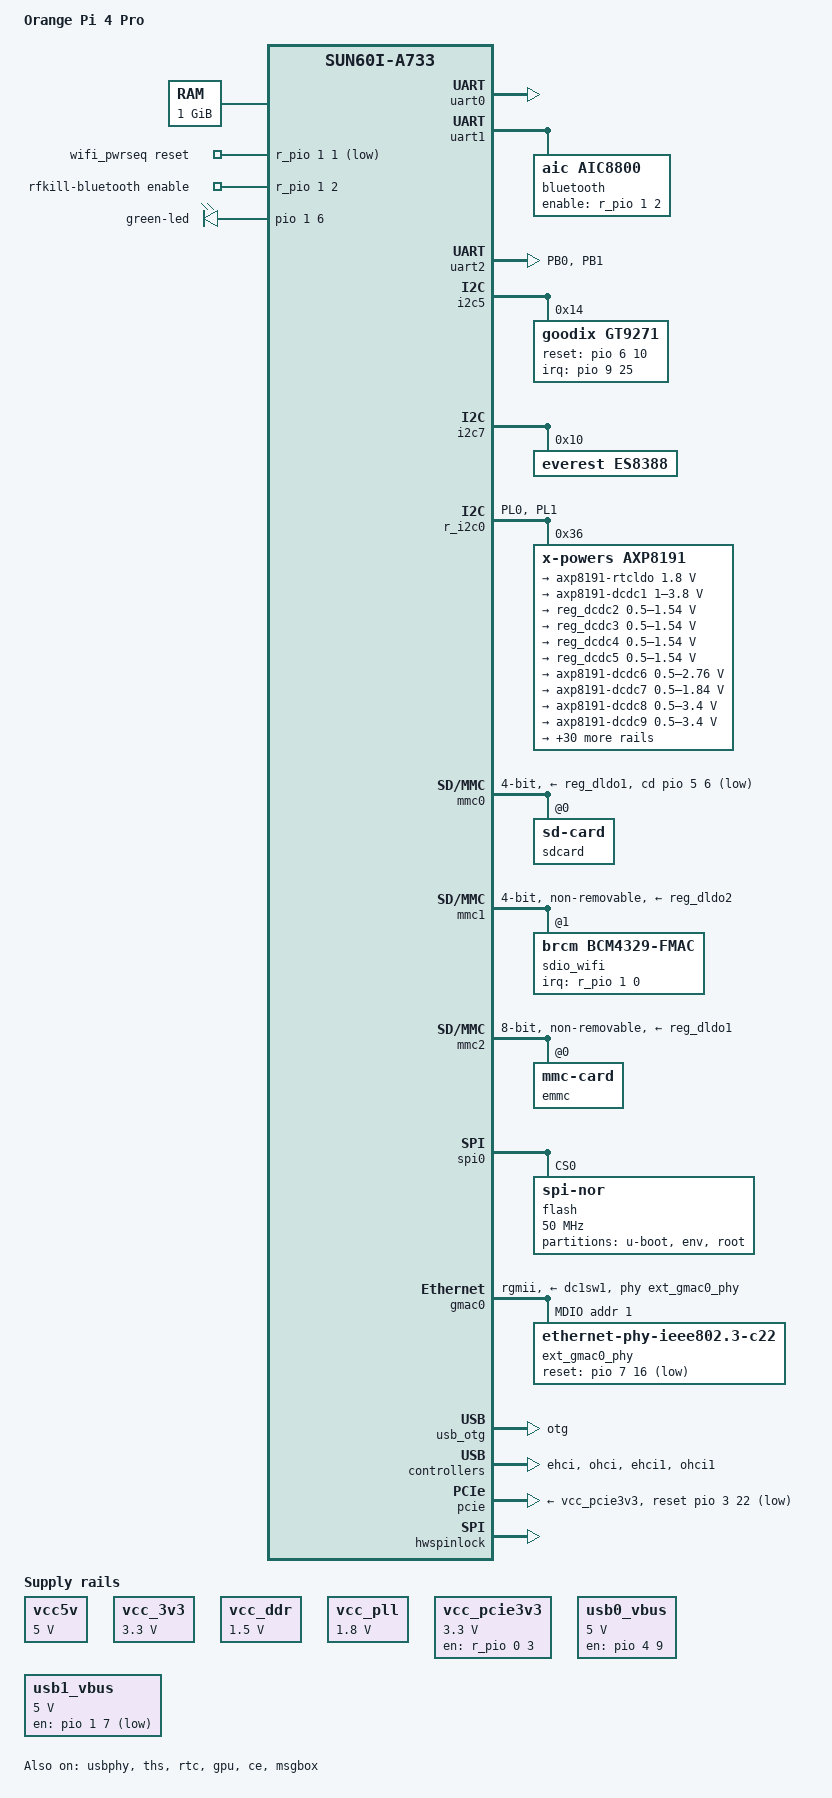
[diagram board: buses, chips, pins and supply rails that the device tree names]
// SPDX-License-Identifier: (GPL-2.0-or-later OR MIT)
/*
 * Device Tree Source for Orange Pi 4 Pro
 *
 * Based on Allwinner A733 SoC
 */

/dts-v1/;

#include "sun60i-a733.dtsi"

/ {
	model = "Orange Pi 4 Pro";
	compatible = "xunlong,orangepi-4-pro", "allwinner,sun60i-a733", "arm,v8";

	aliases {
		serial0 = &uart0;
		serial1 = &uart1;
		serial2 = &uart2;
	};

	chosen {
		stdout-path = "serial2:115200n8";
	};

	memory@40000000 {
		device_type = "memory";
		reg = <0x40000000 0x40000000>;
	};

	reserved-memory {
		#address-cells = <1>;
		#size-cells = <1>;
		ranges;

		bl31@48000000 {
			reg = <0x48000000 0x01000000>;
			no-map;
		};
	};

	vcc5v: vcc5v {
		compatible = "regulator-fixed";
		regulator-name = "vcc-5v";
		regulator-min-microvolt = <5000000>;
		regulator-max-microvolt = <5000000>;
		regulator-always-on;
		regulator-boot-on;
	};

	vcc_3v3: vcc-3v3 {
		compatible = "regulator-fixed";
		regulator-name = "vcc-3v3";
		regulator-min-microvolt = <3300000>;
		regulator-max-microvolt = <3300000>;
		regulator-always-on;
		regulator-boot-on;
	};

	vcc_ddr: vcc-ddr {
		compatible = "regulator-fixed";
		regulator-name = "vcc-ddr";
		regulator-min-microvolt = <1500000>;
		regulator-max-microvolt = <1500000>;
		regulator-always-on;
		regulator-boot-on;
	};

	vcc_pll: vcc-pll {
		compatible = "regulator-fixed";
		regulator-name = "vcc-pll";
		regulator-min-microvolt = <1800000>;
		regulator-max-microvolt = <1800000>;
		regulator-always-on;
		regulator-boot-on;
	};

	vcc_pcie3v3: vcc-pcie3v3 {
		compatible = "regulator-fixed";
		regulator-name = "vcc-pcie3v3";
		regulator-min-microvolt = <3300000>;
		regulator-max-microvolt = <3300000>;
		enable-active-high;
		gpio = <&r_pio 0 3 GPIO_ACTIVE_HIGH>; /* PL3: PCIE_PWREN_H */
		regulator-boot-on;
	};

	usb0_vbus: usb0-vbus {
		compatible = "regulator-fixed";
		regulator-name = "usb0-vbus";
		regulator-min-microvolt = <5000000>;
		regulator-max-microvolt = <5000000>;
		enable-active-high;
		gpio = <&pio 4 9 GPIO_ACTIVE_HIGH>; /* PE9: USB20_EN */
		regulator-boot-on;
	};

	usb1_vbus: usb1-vbus {
		compatible = "regulator-fixed";
		regulator-name = "usb1-vbus";
		regulator-min-microvolt = <5000000>;
		regulator-max-microvolt = <5000000>;
		enable-active-low;
		gpio = <&pio 1 7 GPIO_ACTIVE_LOW>; /* PB7: PWREN1# */
		regulator-always-on;
		regulator-boot-on;
	};

	wifi_pwrseq: wifi-pwrseq {
		compatible = "mmc-pwrseq-simple";
		clocks = <&osc24M>;
		clock-frequency = <26000000>;
		reset-gpios = <&r_pio 1 1 GPIO_ACTIVE_LOW>; /* PM1: WL_REG_ON */
		post-power-on-delay-ms = <200>;
	};

	rfkill_bt: rfkill-bt {
		compatible = "rfkill-gpio";
		label = "rfkill-bluetooth";
		radio-type = "bluetooth";
		enable-gpios = <&r_pio 1 2 GPIO_ACTIVE_HIGH>; /* PM2: BT_REG_ON */
	};

	leds {
		compatible = "gpio-leds";

		led-green {
			label = "green-led";
			gpios = <&pio 1 6 GPIO_ACTIVE_HIGH>; /* PB6: PWM_LED1 */
			default-state = "on";
		};
	};
};

&r_pio {
	/* R_PIO pins (PL bank only) */
	r_i2c0_pins: r-i2c0-pins {
		pins = "PL0", "PL1";
		function = "r_i2c0";
		drive-strength = <40>;
	};
};

&uart0 {
	pinctrl-names = "default";
	pinctrl-0 = <&uart0_ph8_pins>;
	status = "okay";
};

&uart1 {
	pinctrl-names = "default";
	pinctrl-0 = <&uart1_pg6_pins>, <&uart1_rts_cts_pins>;
	uart-has-rtscts;
	status = "okay";

	bluetooth {
		compatible = "aic,aic8800";
		enable-gpios = <&r_pio 1 2 GPIO_ACTIVE_HIGH>; /* PM2: BT_REG_ON */
	};
};

&uart2 {
	pinctrl-names = "default";
	pinctrl-0 = <&uart2_pins>;
	status = "okay";
};

&i2c5 {
	pinctrl-names = "default";
	pinctrl-0 = <&i2c5_pins>;
	status = "okay";

	gt9271: touchscreen@14 {
		compatible = "goodix,gt9271";
		reg = <0x14>;
		interrupt-parent = <&pio>;
		interrupts = <9 25 IRQ_TYPE_LEVEL_HIGH>; /* PJ25 */
		reset-gpios = <&pio 6 10 GPIO_ACTIVE_HIGH>; /* PG10 */
		touchscreen-inverted-x;
		touchscreen-swapped-x-y;
		touchscreen-size-x = <1280>;
		touchscreen-size-y = <800>;
		pinctrl-names = "default";
		pinctrl-0 = <&gt9271_irq_pin>;
	};
};

&i2c7 {
	pinctrl-names = "default";
	pinctrl-0 = <&i2c7_pins>;
	status = "okay";

	es8388: audio-codec@10 {
		compatible = "everest,es8388";
		reg = <0x10>;
		assigned-clocks = <&ccu CLK_AUDIO>;
		assigned-clock-rates = <24576000>;
		clocks = <&ccu CLK_AUDIO>;
		clock-names = "mclk";
	};
};

&r_i2c0 {
	pinctrl-names = "default";
	pinctrl-0 = <&r_i2c0_pins>;
	status = "okay";

	axp8191: pmic@36 {
		compatible = "x-powers,axp8191";
		reg = <0x36>;
		interrupt-parent = <&nmi_intc>;
		interrupts = <0 IRQ_TYPE_LEVEL_LOW>;
		interrupt-controller;
		#interrupt-cells = <1>;

		pmu-reset;
		pmu_irq_wakeup;
		pmu_hot_shutdown;
		wakeup-source;
		x-powers,drive-vbus-en;

		regulators {
			rtcldo {
				regulator-always-on;
				regulator-boot-on;
				regulator-name = "axp8191-rtcldo";
				regulator-min-microvolt = <1800000>;
				regulator-max-microvolt = <1800000>;
				regulator-enable-ramp-delay = <1000>;
			};

			dcdc1 {
				regulator-always-on;
				regulator-boot-on;
				regulator-name = "axp8191-dcdc1";
				regulator-min-microvolt = <1000000>;
				regulator-max-microvolt = <3800000>;
				regulator-enable-ramp-delay = <1000>;
			};

			reg_dcdc2: dcdc2 {
				regulator-always-on;
				regulator-boot-on;
				regulator-name = "axp8191-dcdc2";
				regulator-min-microvolt = <500000>;
				regulator-max-microvolt = <1540000>;
				regulator-enable-ramp-delay = <1000>;
			};

			reg_dcdc3: dcdc3 {
				regulator-always-on;
				regulator-boot-on;
				regulator-name = "axp8191-dcdc3";
				regulator-min-microvolt = <500000>;
				regulator-max-microvolt = <1540000>;
				regulator-enable-ramp-delay = <1000>;
			};

			reg_dcdc4: dcdc4 {
				regulator-always-on;
				regulator-boot-on;
				regulator-name = "axp8191-dcdc4";
				regulator-min-microvolt = <500000>;
				regulator-max-microvolt = <1540000>;
				regulator-enable-ramp-delay = <1000>;
			};

			reg_dcdc5: dcdc5 {
				regulator-always-on;
				regulator-boot-on;
				regulator-name = "axp8191-dcdc5";
				regulator-min-microvolt = <500000>;
				regulator-max-microvolt = <1540000>;
				regulator-enable-ramp-delay = <1000>;
			};

			dcdc6 {
				regulator-always-on;
				regulator-boot-on;
				regulator-name = "axp8191-dcdc6";
				regulator-min-microvolt = <500000>;
				regulator-max-microvolt = <2760000>;
				regulator-enable-ramp-delay = <1000>;
			};

			dcdc7 {
				regulator-always-on;
				regulator-boot-on;
				regulator-name = "axp8191-dcdc7";
				regulator-min-microvolt = <500000>;
				regulator-max-microvolt = <1840000>;
				regulator-enable-ramp-delay = <1000>;
			};

			dcdc8 {
				regulator-always-on;
				regulator-boot-on;
				regulator-name = "axp8191-dcdc8";
				regulator-min-microvolt = <500000>;
				regulator-max-microvolt = <3400000>;
				regulator-enable-ramp-delay = <1000>;
			};

			dcdc9 {
				regulator-always-on;
				regulator-boot-on;
				regulator-name = "axp8191-dcdc9";
				regulator-min-microvolt = <500000>;
				regulator-max-microvolt = <3400000>;
				regulator-enable-ramp-delay = <1000>;
			};

			aldo1 {
				regulator-always-on;
				regulator-boot-on;
				regulator-name = "axp8191-aldo1";
				regulator-min-microvolt = <500000>;
				regulator-max-microvolt = <3400000>;
				regulator-enable-ramp-delay = <1000>;
			};

			aldo2 {
				regulator-name = "axp8191-aldo2";
				regulator-min-microvolt = <500000>;
				regulator-max-microvolt = <3400000>;
				regulator-enable-ramp-delay = <1000>;
			};

			aldo3 {
				regulator-name = "axp8191-aldo3";
				regulator-min-microvolt = <500000>;
				regulator-max-microvolt = <3400000>;
				regulator-enable-ramp-delay = <1000>;
			};

			aldo4 {
				regulator-name = "axp8191-aldo4";
				regulator-min-microvolt = <500000>;
				regulator-max-microvolt = <3400000>;
				regulator-enable-ramp-delay = <1000>;
			};

			aldo5 {
				regulator-name = "axp8191-aldo5";
				regulator-min-microvolt = <500000>;
				regulator-max-microvolt = <3400000>;
				regulator-enable-ramp-delay = <1000>;
			};

			aldo6 {
				regulator-name = "axp8191-aldo6";
				regulator-min-microvolt = <500000>;
				regulator-max-microvolt = <3400000>;
				regulator-enable-ramp-delay = <1000>;
			};

			bldo1 {
				regulator-name = "axp8191-bldo1";
				regulator-min-microvolt = <500000>;
				regulator-max-microvolt = <3400000>;
				regulator-enable-ramp-delay = <1000>;
			};

			bldo2 {
				regulator-name = "axp8191-bldo2";
				regulator-min-microvolt = <500000>;
				regulator-max-microvolt = <3400000>;
				regulator-enable-ramp-delay = <1000>;
			};

			bldo3 {
				regulator-name = "axp8191-bldo3";
				regulator-min-microvolt = <500000>;
				regulator-max-microvolt = <3400000>;
				regulator-enable-ramp-delay = <1000>;
			};

			bldo4 {
				regulator-always-on;
				regulator-boot-on;
				regulator-name = "axp8191-bldo4";
				regulator-min-microvolt = <500000>;
				regulator-max-microvolt = <3400000>;
				regulator-enable-ramp-delay = <1000>;
			};

			bldo5 {
				regulator-name = "axp8191-bldo5";
				regulator-min-microvolt = <500000>;
				regulator-max-microvolt = <3400000>;
				regulator-enable-ramp-delay = <1000>;
			};

			cldo1 {
				regulator-always-on;
				regulator-boot-on;
				regulator-name = "axp8191-cldo1";
				regulator-min-microvolt = <500000>;
				regulator-max-microvolt = <3500000>;
				regulator-enable-ramp-delay = <1000>;
			};

			cldo2 {
				regulator-always-on;
				regulator-boot-on;
				regulator-name = "axp8191-cldo2";
				regulator-min-microvolt = <500000>;
				regulator-max-microvolt = <3500000>;
				regulator-enable-ramp-delay = <1000>;
			};

			cldo3 {
				regulator-always-on;
				regulator-boot-on;
				regulator-name = "axp8191-cldo3";
				regulator-min-microvolt = <500000>;
				regulator-max-microvolt = <3500000>;
				regulator-enable-ramp-delay = <1000>;
			};

			cldo4 {
				regulator-name = "axp8191-cldo4";
				regulator-min-microvolt = <500000>;
				regulator-max-microvolt = <3500000>;
				regulator-enable-ramp-delay = <1000>;
			};

			cldo5 {
				regulator-always-on;
				regulator-boot-on;
				regulator-name = "axp8191-cldo5";
				regulator-min-microvolt = <500000>;
				regulator-max-microvolt = <3400000>;
				regulator-enable-ramp-delay = <1000>;
			};

			reg_dldo1: dldo1 {
				regulator-always-on;
				regulator-boot-on;
				regulator-name = "axp8191-dldo1";
				regulator-min-microvolt = <500000>;
				regulator-max-microvolt = <3400000>;
				regulator-enable-ramp-delay = <1000>;
			};

			reg_dldo2: dldo2 {
				regulator-name = "axp8191-dldo2";
				regulator-min-microvolt = <500000>;
				regulator-max-microvolt = <3400000>;
				regulator-enable-ramp-delay = <1000>;
			};

			dldo3 {
				regulator-name = "axp8191-dldo3";
				regulator-min-microvolt = <500000>;
				regulator-max-microvolt = <3400000>;
				regulator-enable-ramp-delay = <1000>;
			};

			dldo4 {
				regulator-name = "axp8191-dldo4";
				regulator-min-microvolt = <500000>;
				regulator-max-microvolt = <3400000>;
				regulator-enable-ramp-delay = <1000>;
			};

			dldo5 {
				regulator-name = "axp8191-dldo5";
				regulator-min-microvolt = <500000>;
				regulator-max-microvolt = <3400000>;
				regulator-enable-ramp-delay = <1000>;
			};

			dldo6 {
				regulator-always-on;
				regulator-boot-on;
				regulator-name = "axp8191-dldo6";
				regulator-min-microvolt = <500000>;
				regulator-max-microvolt = <3400000>;
				regulator-enable-ramp-delay = <1000>;
			};

			eldo1 {
				regulator-always-on;
				regulator-boot-on;
				regulator-name = "axp8191-eldo1";
				regulator-min-microvolt = <500000>;
				regulator-max-microvolt = <3400000>;
				regulator-enable-ramp-delay = <1000>;
			};

			eldo2 {
				regulator-always-on;
				regulator-boot-on;
				regulator-name = "axp8191-eldo2";
				regulator-min-microvolt = <500000>;
				regulator-max-microvolt = <3400000>;
				regulator-enable-ramp-delay = <1000>;
			};

			eldo3 {
				regulator-name = "axp8191-eldo3";
				regulator-min-microvolt = <500000>;
				regulator-max-microvolt = <3400000>;
				regulator-enable-ramp-delay = <1000>;
			};

			eldo4 {
				regulator-name = "axp8191-eldo4";
				regulator-min-microvolt = <500000>;
				regulator-max-microvolt = <3400000>;
				regulator-enable-ramp-delay = <1000>;
			};

			eldo5 {
				regulator-name = "axp8191-eldo5";
				regulator-min-microvolt = <500000>;
				regulator-max-microvolt = <3400000>;
				regulator-enable-ramp-delay = <1000>;
			};

			eldo6 {
				regulator-always-on;
				regulator-boot-on;
				regulator-name = "axp8191-eldo6";
				regulator-min-microvolt = <500000>;
				regulator-max-microvolt = <3400000>;
				regulator-enable-ramp-delay = <1000>;
			};

			dc1sw1: dc1sw1 {
				regulator-always-on;
				regulator-boot-on;
				regulator-name = "axp8191-dc1sw1";
			};

			dc1sw2 {
				regulator-always-on;
				regulator-name = "axp8191-dc1sw2";
			};
		};
	};
};

&mmc0 {
	pinctrl-names = "default";
	pinctrl-0 = <&mmc0_pins>, <&mmc0_cd_pin>;
	vmmc-supply = <&reg_dldo1>;
	cd-gpios = <&pio 5 6 GPIO_ACTIVE_LOW>; /* PF6 */
	bus-width = <4>;
	status = "okay";

	#address-cells = <1>;
	#size-cells = <0>;
	sdcard: sd@0 {
		compatible = "sd-card";
		reg = <0>;
		status = "okay";
	};
};

&mmc1 {
	pinctrl-names = "default";
	pinctrl-0 = <&mmc1_pins>;
	vmmc-supply = <&reg_dldo2>;
	mmc-pwrseq = <&wifi_pwrseq>;
	bus-width = <4>;
	cap-sdio-irq;
	cap-sd-highspeed;
	cap-mmc-highspeed;
	mmc-ddr-1_8v;
	mmc-hs200-1_8v;
	non-removable;
	status = "okay";

	sdio_wifi: sdio@1 {
		compatible = "brcm,bcm4329-fmac";
		reg = <1>;
		interrupt-parent = <&r_pio>;
		interrupts = <1 0 IRQ_TYPE_EDGE_FALLING>; /* PM0 */
		interrupt-names = "host-wake";
	};
};

&mmc2 {
	pinctrl-names = "default";
	pinctrl-0 = <&mmc2_pins>;
	vmmc-supply = <&reg_dldo1>;
	bus-width = <8>;
	cap-mmc-highspeed;
	mmc-hs200-1_8v;
	mmc-ddr-1_8v;
	non-removable;
	status = "okay";

	emmc: emmc@0 {
		compatible = "mmc-card";
		reg = <0>;
		status = "okay";
	};
};

&spi0 {
	pinctrl-names = "default";
	pinctrl-0 = <&spi0_pc_pins>;
	status = "okay";

	flash@0 {
		compatible = "jedec,spi-nor";
		reg = <0>;
		spi-max-frequency = <50000000>;
		spi-rx-bus-width = <1>;

		partitions {
			compatible = "fixed-partitions";
			#address-cells = <1>;
			#size-cells = <1>;

			partition@0 {
				label = "u-boot";
				reg = <0x0 0xf0000>;
			};

			partition@1 {
				label = "env";
				reg = <0xf0000 0x10000>;
			};

			partition@2 {
				label = "root";
				reg = <0x100000 0xf00000>;
			};
		};
	};
};

&gmac0 {
	pinctrl-names = "default";
	pinctrl-0 = <&rgmii0_pins>;
	phy-mode = "rgmii";
	phy-handle = <&ext_gmac0_phy>;
	tx-delay = <12>;
	rx-delay = <10>;
	phy-supply = <&dc1sw1>;
	status = "okay";

	mdio0: mdio {
		ext_gmac0_phy: ethernet-phy@1 {
			compatible = "ethernet-phy-ieee802.3-c22";
			reg = <1>;
			reset-gpios = <&pio 7 16 GPIO_ACTIVE_LOW>; /* PH16 */
			reset-assert-us = <10000>;
			reset-deassert-us = <30000>;
		};
	};
};

&usb_otg {
	dr_mode = "otg";
	status = "okay";
};

&usbphy {
	status = "okay";
};

&ehci {
	status = "okay";
};

&ohci {
	status = "okay";
};

&ehci1 {
	status = "okay";
};

&ohci1 {
	status = "okay";
};

&pcie {
	reset-gpios = <&pio 3 22 GPIO_ACTIVE_LOW>; /* PD22 */
	vpcie3v3-supply = <&vcc_pcie3v3>;
	status = "okay";
};

&ths {
	pinctrl-names = "default";
	pinctrl-0 = <&ths_pin>;
	status = "okay";
};

&rtc {
	status = "okay";
};

&gpu {
	mali-supply = <&reg_dcdc4>;
	status = "okay";
};

&ce {
	status = "okay";
};

&msgbox {
	status = "okay";
};

&hwspinlock {
	status = "okay";
};

&nmi_intc {
	status = "okay";
};

&iommu {
	status = "okay";
};

&pio {
	/* UART2 pins (PB0/PB1 = main PIO domain) */
	uart2_pins: uart2-pins {
		pins = "PB0", "PB1";
		function = "uart2";
	};

	gt9271_irq_pin: gt9271-irq-pin {
		pins = "PJ25";
		function = "gpio";
		drive-strength = <10>;
		bias-pull-up;
	};

	ths_pin: ths-pin {
		pins = "PB12";
		function = "gpio";
		drive-strength = <10>;
	};
};

&cpu0 { cpu-supply = <&reg_dcdc5>; };
&cpu1 { cpu-supply = <&reg_dcdc5>; };
&cpu2 { cpu-supply = <&reg_dcdc5>; };
&cpu3 { cpu-supply = <&reg_dcdc5>; };
&cpu4 { cpu-supply = <&reg_dcdc5>; };
&cpu5 { cpu-supply = <&reg_dcdc5>; };
&cpu6 { cpu-supply = <&reg_dcdc3>; };
&cpu7 { cpu-supply = <&reg_dcdc3>; };
